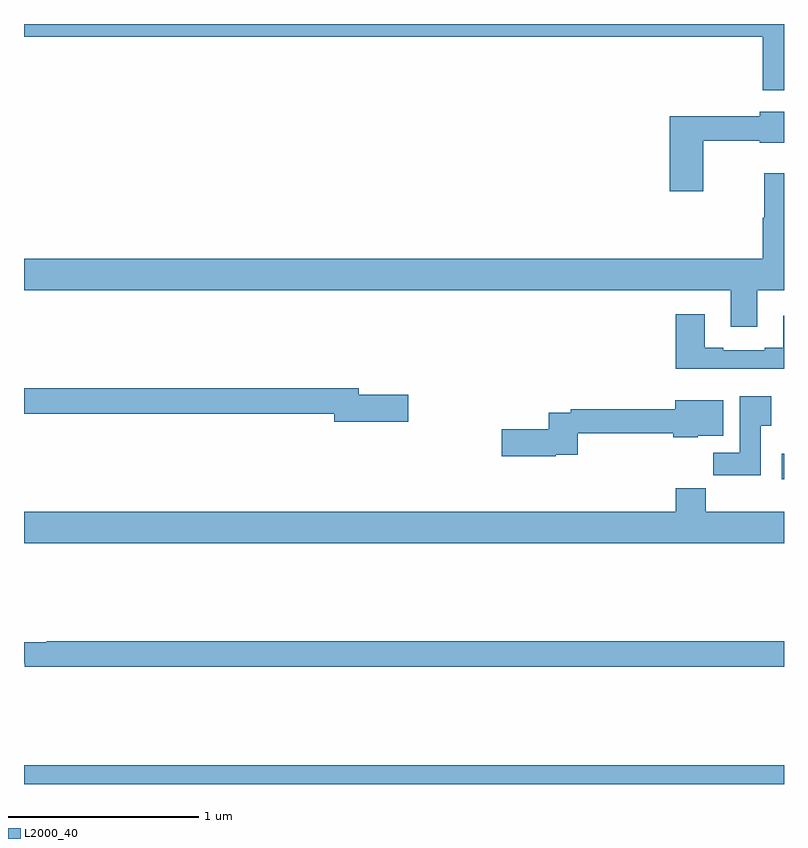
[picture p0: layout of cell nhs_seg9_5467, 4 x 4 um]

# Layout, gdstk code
import gdstk
lib = gdstk.Library(unit=1e-6, precision=1e-09)
def R(c, l, rs):  # rectangles x0, y0, x1, y1
    for r in rs: c.add(gdstk.rectangle(r[:2], r[2:], *l))
def P(c, l, *ps):  # polygons
    for p in ps: c.add(gdstk.Polygon(p, *l))
L2000_40 = (2000, 40)

nhs_seg9_5467 = lib.new_cell('nhs_seg9_5467')
R(nhs_seg9_5467, L2000_40, [(429,1180.5,433,1180.6), (432.987,1182.104,433,1182.238)])
P(nhs_seg9_5467, L2000_40, [(433,1184.5),(429,1184.5),(429,1184.432),(432.888,1184.432),(432.888,1184.151),(433,1184.151)],
  [(432.576,1183.885),(432.872,1183.885),(432.872,1183.874),(433,1183.874),(433,1184.038),(432.872,1184.038),(432.872,1184.014),(432.398,1184.014),(432.398,1183.62),(432.576,1183.62)],
  [(432.859,1183.1),(433,1183.1),(433,1183.714),(432.895,1183.714),(432.895,1183.481),(432.888,1183.481),(432.888,1183.264),(429,1183.264),(429,1183.1),(432.719,1183.1),(432.719,1182.906),(432.859,1182.906)],
  [(433,1182.964),(432.995,1182.964),(432.995,1182.796),(432.899,1182.796),(432.899,1182.783),(432.679,1182.783),(432.679,1182.796),(432.583,1182.796),(432.583,1182.973),(432.431,1182.973),(432.431,1182.686),(433,1182.686)],
  [(431.023,1182.548),(430.762,1182.548),(430.762,1182.584),(429,1182.584),(429,1182.448),(430.634,1182.448),(430.634,1182.406),(431.023,1182.406)],
  [(432.877,1182.385),(432.934,1182.385),(432.934,1182.541),(432.767,1182.541),(432.767,1182.244),(432.628,1182.244),(432.628,1182.126),(432.877,1182.126)],
  [(431.798,1182.233),(431.915,1182.233),(431.915,1182.345),(432.416,1182.345),(432.416,1182.326),(432.546,1182.326),(432.546,1182.332),(432.679,1182.332),(432.679,1182.52),(432.428,1182.52),(432.428,1182.473),(431.878,1182.473),(431.878,1182.453),(431.762,1182.453),(431.762,1182.368),(431.514,1182.368),(431.514,1182.226),(431.798,1182.226)],
  [(433,1181.932),(432.587,1181.932),(432.587,1182.056),(432.431,1182.056),(432.431,1181.932),(429,1181.932),(429,1181.768),(433,1181.768)],
  [(433,1181.252),(429.119,1181.252),(429.119,1181.245),(429,1181.245),(429,1181.135),(429.004,1181.135),(429.004,1181.116),(433,1181.116)])

lib.write_gds('nhs_seg9_5467.gds')
